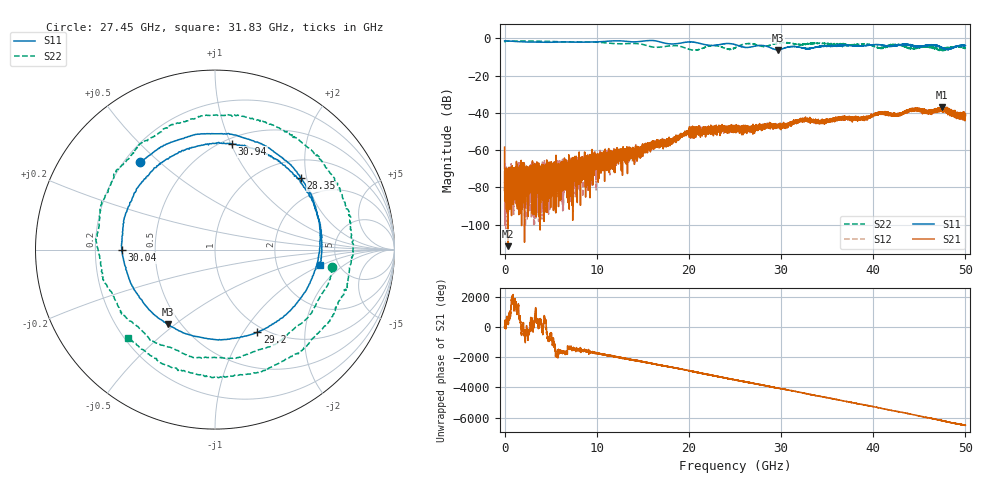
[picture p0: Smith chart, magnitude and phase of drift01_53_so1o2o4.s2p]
!Created with skrf (http://scikit-rf.org).
# Hz S RI R 50.0
!freq ReS11 ImS11 ReS21 ImS21 ReS12 ImS12 ReS22 ImS22
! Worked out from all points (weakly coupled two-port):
!   10001 points, 300 kHz to 50 GHz, reference 50 ohm
!   highest |S21| = -36.93 dB at 47.48 GHz (marker M1); lowest = -111.6 dB at 380.3 MHz (marker M2)
!   lowest |S11| = -6.2 dB at 29.62 GHz (marker M3), VSWR 2.92, Z = 21.5 - j23.5 ohm
!   |S11| at or under -10 dB: nowhere
!   |S22| runs from -6.7 to -1.4 dB; largest |S21 - S12| = 0.0042
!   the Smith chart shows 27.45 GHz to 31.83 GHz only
!   S11 on the Smith chart (normalised r, x): 27.45 GHz: 0.26, +0.43; 28.35 GHz: 1.43, +1.85; 29.2 GHz: 0.92, -1.16; 30.04 GHz: 0.32, -0.00; 30.94 GHz: 0.55, +1.01; 31.83 GHz: 3.66, -0.94
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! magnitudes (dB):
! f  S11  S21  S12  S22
! 300 kHz  -1.3  -58.4  -67.0  -2.1
! 255.3 MHz  -1.4  -93.3  -80.1  -1.4
! 380.3 MHz  -1.4  -111.6  -73.6  -1.4
! 3.63 GHz  -2.0  -67.1  -88.4  -1.5
! 5.74 GHz  -2.0  -70.6  -68.7  -1.7
! 8.335 GHz  -2.0  -69.2  -69.4  -1.8
! 16.67 GHz  -1.6  -54.6  -56.8  -4.8
! 18.62 GHz  -2.9  -53.6  -54.1  -3.9
! 20.31 GHz  -1.9  -49.0  -49.5  -6.2
! 22.6 GHz  -3.8  -48.6  -51.3  -3.8
! 25 GHz  -3.3  -48.7  -48.2  -5.1
! 27.45 GHz  -3.9  -48.3  -48.0  -3.6
! 28.35 GHz  -4.1  -47.1  -47.0  -4.1
! 29.2 GHz  -5.7  -47.1  -46.9  -3.1
! 29.62 GHz  -6.2  -47.1  -46.9  -2.5
! 30.04 GHz  -5.7  -46.9  -46.6  -2.3
! 30.94 GHz  -4.5  -46.5  -45.6  -2.5
! 31.83 GHz  -4.5  -45.3  -44.2  -3.2
! 33.34 GHz  -5.2  -44.6  -44.6  -2.6
! 41.67 GHz  -4.2  -40.1  -40.8  -4.4
! 47.48 GHz  -5.0  -36.9  -37.9  -6.4
! 50 GHz  -3.8  -40.6  -40.5  -5.3
